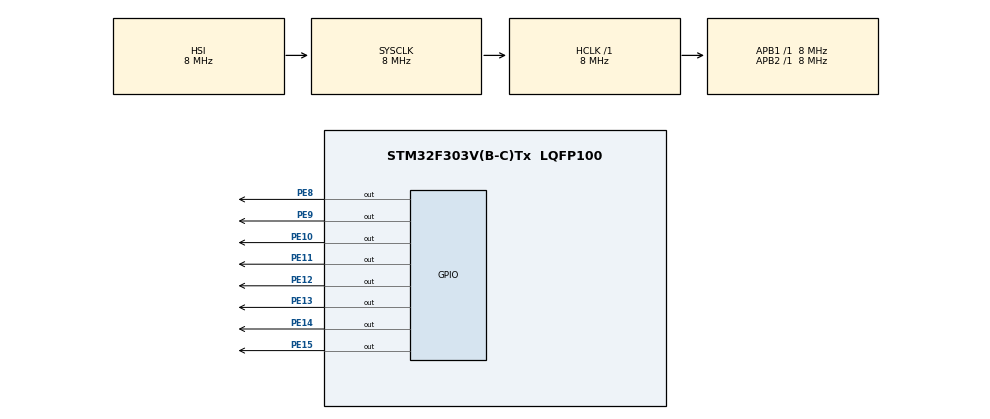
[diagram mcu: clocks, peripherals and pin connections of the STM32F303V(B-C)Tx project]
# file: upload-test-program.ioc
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Mcu.Family=STM32F3
Mcu.Name=STM32F303V(B-C)Tx
Mcu.Package=LQFP100
NVIC.PriorityGroup=NVIC_PRIORITYGROUP_4
PE10.Signal=GPIO_Output
PE11.Signal=GPIO_Output
PE12.Signal=GPIO_Output
PE13.Signal=GPIO_Output
PE14.Signal=GPIO_Output
PE15.Signal=GPIO_Output
PE8.Signal=GPIO_Output
PE9.Signal=GPIO_Output
ProjectManager.HeapSize=0x200
ProjectManager.StackSize=0x400
ProjectManager.TargetToolchain=STM32CubeIDE
RCC.AHBFreq_Value=8000000
RCC.APB1Freq_Value=8000000
RCC.APB2Freq_Value=8000000
RCC.CortexFreq_Value=8000000
RCC.HSE_VALUE=8000000
RCC.HSI_VALUE=8000000
RCC.LSE_VALUE=32768
RCC.SYSCLKFreq_VALUE=8000000
board=custom

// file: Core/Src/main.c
/* USER CODE BEGIN Header */
/**
  ******************************************************************************
  * @file           : main.c
  * @brief          : Main program body
  ******************************************************************************
  * @attention
  *
  * <h2><center>&copy; Copyright (c) 2020 STMicroelectronics.
  * All rights reserved.</center></h2>
  *
  * This software component is licensed by ST under BSD 3-Clause license,
  * the "License"; You may not use this file except in compliance with the
  * License. You may obtain a copy of the License at:
  *                        opensource.org/licenses/BSD-3-Clause
  *
  ******************************************************************************
  */
/* USER CODE END Header */
#include "main.h"

void SystemClock_Config(void);
static void MX_GPIO_Init(void);

/* USER CODE BEGIN 0 */
void togglePins(){
	static int start = 0;
	static int state = 0;
	uint16_t pins[] = {
			GPIO_PIN_8,
			GPIO_PIN_9,
			GPIO_PIN_10,
			GPIO_PIN_11,
			GPIO_PIN_12,
			GPIO_PIN_13,
			GPIO_PIN_14,
			GPIO_PIN_15
	};
	if(!start){
			HAL_GPIO_TogglePin(GPIOE, pins[1]);
			HAL_GPIO_TogglePin(GPIOE, pins[2]);
			HAL_GPIO_TogglePin(GPIOE, pins[3]);
	}else{
		HAL_GPIO_TogglePin(GPIOE, pins[(state) % 8]);
		HAL_GPIO_TogglePin(GPIOE, pins[(state + 3) % 8]);
	}
	state++;
	state %= 8;
	start = 1;
}
/* USER CODE END 0 */

int main(void)
{
  /* USER CODE BEGIN 1 */
	SCB->VTOR = 0x08004080;
  /* USER CODE END 1 */

  /* MCU Configuration--------------------------------------------------------*/

  /* Reset of all peripherals, Initializes the Flash interface and the Systick. */
  HAL_Init();

  /* Configure the system clock */
  SystemClock_Config();

  /* Initialize all configured peripherals */
  MX_GPIO_Init();

  /* Infinite loop */
  while (1)
  {

    /* USER CODE BEGIN 3 */
	  togglePins();
	  HAL_Delay(40);
  }
  /* USER CODE END 3 */
}

void SystemClock_Config(void)
{
  RCC_OscInitTypeDef RCC_OscInitStruct = {0};
  RCC_ClkInitTypeDef RCC_ClkInitStruct = {0};

  /** Initializes the RCC Oscillators according to the specified parameters
  * in the RCC_OscInitTypeDef structure.
  */
  RCC_OscInitStruct.OscillatorType = RCC_OSCILLATORTYPE_HSI;
  RCC_OscInitStruct.HSIState = RCC_HSI_ON;
  RCC_OscInitStruct.HSICalibrationValue = RCC_HSICALIBRATION_DEFAULT;
  RCC_OscInitStruct.PLL.PLLState = RCC_PLL_NONE;
  if (HAL_RCC_OscConfig(&RCC_OscInitStruct) != HAL_OK)
  {
    Error_Handler();
  }
  /** Initializes the CPU, AHB and APB buses clocks
  */
  RCC_ClkInitStruct.ClockType = RCC_CLOCKTYPE_HCLK|RCC_CLOCKTYPE_SYSCLK
                              |RCC_CLOCKTYPE_PCLK1|RCC_CLOCKTYPE_PCLK2;
  RCC_ClkInitStruct.SYSCLKSource = RCC_SYSCLKSOURCE_HSI;
  RCC_ClkInitStruct.AHBCLKDivider = RCC_SYSCLK_DIV1;
  RCC_ClkInitStruct.APB1CLKDivider = RCC_HCLK_DIV1;
  RCC_ClkInitStruct.APB2CLKDivider = RCC_HCLK_DIV1;

  if (HAL_RCC_ClockConfig(&RCC_ClkInitStruct, FLASH_LATENCY_0) != HAL_OK)
  {
    Error_Handler();
  }
}

static void MX_GPIO_Init(void)
{
  GPIO_InitTypeDef GPIO_InitStruct = {0};

  /* GPIO Ports Clock Enable */
  __HAL_RCC_GPIOE_CLK_ENABLE();

  /*Configure GPIO pin Output Level */
  HAL_GPIO_WritePin(GPIOE, GPIO_PIN_8|GPIO_PIN_9|GPIO_PIN_10|GPIO_PIN_11
                          |GPIO_PIN_12|GPIO_PIN_13|GPIO_PIN_14|GPIO_PIN_15, GPIO_PIN_RESET);

  /*Configure GPIO pins : PE8 PE9 PE10 PE11
                           PE12 PE13 PE14 PE15 */
  GPIO_InitStruct.Pin = GPIO_PIN_8|GPIO_PIN_9|GPIO_PIN_10|GPIO_PIN_11
                          |GPIO_PIN_12|GPIO_PIN_13|GPIO_PIN_14|GPIO_PIN_15;
  GPIO_InitStruct.Mode = GPIO_MODE_OUTPUT_PP;
  GPIO_InitStruct.Pull = GPIO_NOPULL;
  GPIO_InitStruct.Speed = GPIO_SPEED_FREQ_LOW;
  HAL_GPIO_Init(GPIOE, &GPIO_InitStruct);

}

void Error_Handler(void)
{
}

/************************ (C) COPYRIGHT STMicroelectronics *****END OF FILE****/
